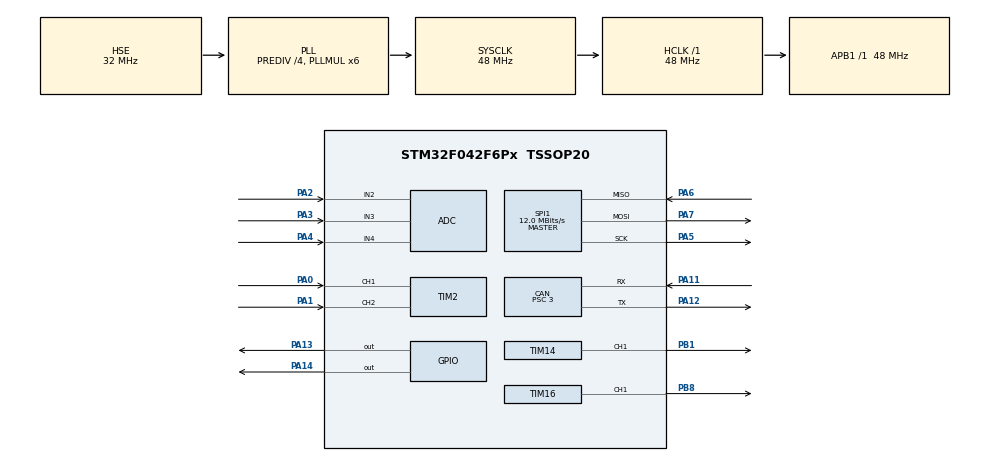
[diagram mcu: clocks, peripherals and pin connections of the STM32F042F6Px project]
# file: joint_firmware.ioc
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ADC.ContinuousConvMode=ENABLE
ADC.DMAContinuousRequests=ENABLE
ADC.Overrun=ADC_OVR_DATA_OVERWRITTEN
CAN.BS1=CAN_BS1_13TQ
CAN.BS2=CAN_BS2_2TQ
CAN.CalculateBaudRate=1000000
CAN.CalculateTimeBit=1000
CAN.CalculateTimeQuantum=62.5
CAN.Mode=CAN_MODE_NORMAL
CAN.Prescaler=3
CAN.RFLM=DISABLE
CAN.SJW=CAN_SJW_1TQ
Dma.ADC.0.Direction=DMA_PERIPH_TO_MEMORY
Dma.ADC.0.Instance=DMA1_Channel1
Dma.ADC.0.MemDataAlignment=DMA_MDATAALIGN_HALFWORD
Dma.ADC.0.MemInc=DMA_MINC_ENABLE
Dma.ADC.0.Mode=DMA_CIRCULAR
Dma.ADC.0.PeriphDataAlignment=DMA_PDATAALIGN_HALFWORD
Dma.ADC.0.PeriphInc=DMA_PINC_DISABLE
Dma.ADC.0.Priority=DMA_PRIORITY_LOW
Dma.Request0=ADC
FREERTOS.Mutexes01=CANTxData,Dynamic,NULL;CANRxData,Dynamic,NULL
FREERTOS.Tasks01=controlSystem,2,64,control_system_task,Default,NULL,Dynamic,NULL,NULL;canTransmit,-2,64,transmit_can_frame_task,Default,NULL,Dynamic,NULL,NULL
FREERTOS.configMINIMAL_STACK_SIZE=64
FREERTOS.configTOTAL_HEAP_SIZE=1500
FREERTOS.configUSE_NEWLIB_REENTRANT=0
Mcu.Family=STM32F0
Mcu.Name=STM32F042F6Px
Mcu.Package=TSSOP20
NVIC.CEC_CAN_IRQn=true\:3\:0\:false\:false\:true\:true\:true\:true\:true
NVIC.DMA1_Channel1_IRQn=true\:3\:0\:false\:false\:true\:true\:false\:true\:true
NVIC.TIM17_IRQn=true\:3\:0\:false\:false\:true\:false\:false\:true\:true
NVIC.TimeBase=TIM17_IRQn
NVIC.TimeBaseIP=TIM17
PA0.Signal=S_TIM2_CH1_ETR
PA1.Signal=S_TIM2_CH2
PA11.Mode=CAN_Activate
PA11.Signal=CAN_RX
PA12.Mode=CAN_Activate
PA12.Signal=CAN_TX
PA13.GPIO_PuPd=GPIO_PULLUP
PA13.PinState=GPIO_PIN_SET
PA13.Signal=GPIO_Output
PA14.GPIO_PuPd=GPIO_PULLUP
PA14.PinState=GPIO_PIN_SET
PA14.Signal=GPIO_Output
PA2.Mode=IN2
PA2.Signal=ADC_IN2
PA3.Mode=IN3
PA3.Signal=ADC_IN3
PA4.Mode=IN4
PA4.Signal=ADC_IN4
PA5.Mode=Full_Duplex_Master
PA5.Signal=SPI1_SCK
PA6.Mode=Full_Duplex_Master
PA6.Signal=SPI1_MISO
PA7.Mode=Full_Duplex_Master
PA7.Signal=SPI1_MOSI
PB1.Signal=S_TIM14_CH1
PB8.Signal=S_TIM16_CH1
PF0-OSC_IN.Mode=HSE-External-Oscillator
PF0-OSC_IN.Signal=RCC_OSC_IN
PF1-OSC_OUT.Mode=HSE-External-Oscillator
PF1-OSC_OUT.Signal=RCC_OSC_OUT
ProjectManager.HeapSize=0x200
ProjectManager.StackSize=0x400
ProjectManager.TargetToolchain=Makefile
RCC.AHBFreq_Value=48000000
RCC.APB1Freq_Value=48000000
RCC.APB1TimFreq_Value=48000000
RCC.HCLKFreq_Value=48000000
RCC.HSE_VALUE=32000000
RCC.PLLDivider=RCC_PREDIV_DIV4
RCC.PLLMUL=RCC_PLL_MUL6
RCC.PLLSourceVirtual=RCC_PLLSOURCE_HSE
RCC.SYSCLKFreq_VALUE=48000000
RCC.SYSCLKSource=RCC_SYSCLKSOURCE_PLLCLK
SH.S_TIM14_CH1.0=TIM14_CH1,PWM Generation1 CH1
SH.S_TIM16_CH1.0=TIM16_CH1,PWM Generation1 CH1
SH.S_TIM2_CH1_ETR.0=TIM2_CH1,Encoder_Interface
SH.S_TIM2_CH2.0=TIM2_CH2,Encoder_Interface
SPI1.BaudRatePrescaler=SPI_BAUDRATEPRESCALER_4
SPI1.CalculateBaudRate=12.0 MBits/s
SPI1.DataSize=SPI_DATASIZE_8BIT
SPI1.Direction=SPI_DIRECTION_2LINES
SPI1.Mode=SPI_MODE_MASTER
SPI1.VirtualType=VM_MASTER
TIM14.Channel=TIM_CHANNEL_1
TIM14.Prescaler=0
TIM14.Pulse=30000
TIM16.Channel=TIM_CHANNEL_1
TIM2.EncoderMode=TIM_ENCODERMODE_TI12
TIM3.Prescaler=48
VP_FREERTOS_VS_CMSIS_V1.Mode=CMSIS_V1
VP_SYS_VS_PINREMAP.Mode=PINREMAP
VP_SYS_VS_tim17.Mode=TIM17
VP_TIM14_VS_ClockSourceINT.Mode=Enable_Timer
VP_TIM16_VS_ClockSourceINT.Mode=Enable_Timer
VP_TIM3_VS_ClockSourceINT.Mode=Internal
board=custom

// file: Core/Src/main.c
/* USER CODE BEGIN Header */
/**
  ******************************************************************************
  * @file           : main.c
  * @brief          : Main program body
  ******************************************************************************
  * @attention
  *
  * Copyright (c) 2024 STMicroelectronics.
  * All rights reserved.
  *
  * This software is licensed under terms that can be found in the LICENSE file
  * in the root directory of this software component.
  * If no LICENSE file comes with this software, it is provided AS-IS.
  *
  ******************************************************************************
  */
/* USER CODE END Header */
#include "main.h"
#include "cmsis_os.h"
#include "adc.h"
#include "can.h"
#include "dma.h"
#include "spi.h"
#include "tim.h"
#include "gpio.h"

void SystemClock_Config(void);
void MX_FREERTOS_Init(void);

/* USER CODE BEGIN 0 */

PID_t positionPID;

/* USER CODE END 0 */

int main(void)
{
  // return;

  /* MCU Configuration--------------------------------------------------------*/

  /* Reset of all peripherals, Initializes the Flash interface and the Systick. */
  HAL_Init();

  /* Configure the system clock */
  SystemClock_Config();

  /* USER CODE BEGIN SysInit */
  MX_GPIO_Init();
  MX_SPI1_Init();
  load_settings();

  // joint.settings.joint.nodeId = 1;
  // joint.settings.joint.nodeId = 2;
  // joint.settings.joint.nodeId = 7;
  // joint.settings.telemetry.transmitPeriod = 3000;
  // joint.settings.joint.nodeId = 4;
  joint_init();

  /* USER CODE END SysInit */

  /* Initialize all configured peripherals */
  // MX_GPIO_Init();
  MX_DMA_Init();
  MX_CAN_Init();
  // MX_SPI1_Init();
  MX_ADC_Init();
  MX_TIM2_Init();
  MX_TIM14_Init();
  MX_TIM16_Init();
  MX_TIM3_Init();
  /* USER CODE BEGIN 2 */

  HAL_TIM_PWM_Start(&htim14, TIM_CHANNEL_1);
  HAL_TIM_PWM_Start(&htim16, TIM_CHANNEL_1);
  HAL_TIM_Encoder_Start(&htim2, TIM_CHANNEL_ALL);
  HAL_TIM_Base_Start(&htim3);
  HAL_CAN_Start(&hcan);

  // PID_init(&positionPID, 650, 500, 120, 0.001, -65535, 65535);
  // joint.settings.control.pGain = 100;
  // joint.settings.control.iGain = 0;
  // joint.settings.control.dGain = 0;
  PID_init(&positionPID, &joint.settings.control.pGain, &joint.settings.control.iGain, &joint.settings.control.dGain, 0.001, -100, 100);

  // send_settings();

  if (HAL_CAN_ActivateNotification(&hcan, CAN_IT_RX_FIFO0_MSG_PENDING |
                                          CAN_IT_ERROR |
                                          CAN_IT_RX_FIFO0_OVERRUN |
                                          CAN_IT_BUSOFF|
                                          CAN_IT_ERROR_PASSIVE) != HAL_OK)
  {
	  Error_Handler();
  }

  /* USER CODE END 2 */

  /* Call init function for freertos objects (in cmsis_os2.c) */
  MX_FREERTOS_Init();

  /* Start scheduler */
  osKernelStart();

  /* We should never get here as control is now taken by the scheduler */

  /* Infinite loop */
  while (1)
  {

  }
}

void SystemClock_Config(void)
{
  RCC_OscInitTypeDef RCC_OscInitStruct = {0};
  RCC_ClkInitTypeDef RCC_ClkInitStruct = {0};

  /** Initializes the RCC Oscillators according to the specified parameters
  * in the RCC_OscInitTypeDef structure.
  */
  RCC_OscInitStruct.OscillatorType = RCC_OSCILLATORTYPE_HSI14|RCC_OSCILLATORTYPE_HSE;
  RCC_OscInitStruct.HSEState = RCC_HSE_ON;
  RCC_OscInitStruct.HSI14State = RCC_HSI14_ON;
  RCC_OscInitStruct.HSI14CalibrationValue = 16;
  RCC_OscInitStruct.PLL.PLLState = RCC_PLL_ON;
  RCC_OscInitStruct.PLL.PLLSource = RCC_PLLSOURCE_HSE;
  RCC_OscInitStruct.PLL.PLLMUL = RCC_PLL_MUL6;
  RCC_OscInitStruct.PLL.PREDIV = RCC_PREDIV_DIV4;
  if (HAL_RCC_OscConfig(&RCC_OscInitStruct) != HAL_OK)
  {
    Error_Handler();
  }

  /** Initializes the CPU, AHB and APB buses clocks
  */
  RCC_ClkInitStruct.ClockType = RCC_CLOCKTYPE_HCLK|RCC_CLOCKTYPE_SYSCLK
                              |RCC_CLOCKTYPE_PCLK1;
  RCC_ClkInitStruct.SYSCLKSource = RCC_SYSCLKSOURCE_PLLCLK;
  RCC_ClkInitStruct.AHBCLKDivider = RCC_SYSCLK_DIV1;
  RCC_ClkInitStruct.APB1CLKDivider = RCC_HCLK_DIV1;

  if (HAL_RCC_ClockConfig(&RCC_ClkInitStruct, FLASH_LATENCY_1) != HAL_OK)
  {
    Error_Handler();
  }
}

void HAL_TIM_PeriodElapsedCallback(TIM_HandleTypeDef *htim)
{
  if (htim->Instance == TIM17) {
    HAL_IncTick();
  }
}

void Error_Handler(void)
{
  __disable_irq();
  while (1)
  {
  }
}

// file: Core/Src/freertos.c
/* USER CODE BEGIN Header */

/**
  ******************************************************************************
  * File Name          : freertos.c
  * Description        : Code for freertos applications
  ******************************************************************************
  * @attention
  *
  * Copyright (c) 2024 STMicroelectronics.
  * All rights reserved.
  *
  * This software is licensed under terms that can be found in the LICENSE file
  * in the root directory of this software component.
  * If no LICENSE file comes with this software, it is provided AS-IS.
  *
  ******************************************************************************
  */
/* USER CODE END Header */

#include "FreeRTOS.h"
#include "task.h"
#include "main.h"
#include "cmsis_os.h"

/* USER CODE BEGIN Includes */
// #include "can_queues.h"
#include "canQueue.h"
#include "can.h"
#include "freckle_protocol.h"
#include "stm32f0xx_hal_tim.h"
#include "tim.h"
#include "adc.h"
#include "joint.h"
#include "pid.h"
/* USER CODE END Includes */

osThreadId controlSystemHandle;
osThreadId canTransmitHandle;
osMutexId CANTxDataHandle;
osMutexId CANRxDataHandle;

void control_system_task(void const * argument);
void transmit_can_frame_task(void const * argument);

void MX_FREERTOS_Init(void); /* (MISRA C 2004 rule 8.1) */

/* GetIdleTaskMemory prototype (linked to static allocation support) */
void vApplicationGetIdleTaskMemory( StaticTask_t **ppxIdleTaskTCBBuffer, StackType_t **ppxIdleTaskStackBuffer, uint32_t *pulIdleTaskStackSize );

/* USER CODE BEGIN GET_IDLE_TASK_MEMORY */
static StaticTask_t xIdleTaskTCBBuffer;
static StackType_t xIdleStack[configMINIMAL_STACK_SIZE];

void vApplicationGetIdleTaskMemory( StaticTask_t **ppxIdleTaskTCBBuffer, StackType_t **ppxIdleTaskStackBuffer, uint32_t *pulIdleTaskStackSize )
{
  *ppxIdleTaskTCBBuffer = &xIdleTaskTCBBuffer;
  *ppxIdleTaskStackBuffer = &xIdleStack[0];
  *pulIdleTaskStackSize = configMINIMAL_STACK_SIZE;
  /* place for user code */
}
/* USER CODE END GET_IDLE_TASK_MEMORY */

void MX_FREERTOS_Init(void) {
  /* USER CODE BEGIN Init */

    osThreadDef(controlSystemHandle, control_system_task, osPriorityNormal, 0, 64);
    controlSystemHandle = osThreadCreate(osThread(controlSystemHandle), NULL);
    osThreadDef(canTransmitHandle, transmit_can_frame_task, osPriorityNormal, 0, 64);
    canTransmitHandle = osThreadCreate(osThread(canTransmitHandle), NULL);

    CANTxDataHandle = xSemaphoreCreateMutex();
    CANRxDataHandle = xSemaphoreCreateMutex(); //

    CAN_InitQueues();
  /* USER CODE END Init */
/* USER CODE BEGIN Header */
/**
  ******************************************************************************
  * File Name          : freertos.c
  * Description        : Code for freertos applications
  ******************************************************************************
  * @attention
  *
  * Copyright (c) 2024 STMicroelectronics.
  * All rights reserved.
  *
  * This software is licensed under terms that can be found in the LICENSE file
  * in the root directory of this software component.
  * If no LICENSE file comes with this software, it is provided AS-IS.
  *
  ******************************************************************************
  */
/* USER CODE END Header */

}

void control_system_task(void const * argument)
{
  /* USER CODE BEGIN control_system_task */
  // __HAL_TIM_SET_COMPARE(&htim14, TIM_CHANNEL_1, 50000);

  int16_t previousPosition = 0;
  int16_t deltaPosition = 0;
  uint32_t currentTimeMs = 0;
  uint32_t previousTimeMs = 0;
  int32_t deltaTimeMs = 0;
  uint8_t updateVelocity = 0;
  int32_t dutyCycle = 0;
  uint8_t offset = 0;

  /* Infinite loop */
  for(;;)
  {
    joint.settings.internal.position =  __HAL_TIM_GET_COUNTER(&htim2);
    convert_countToAngle(&joint.statusA.position, joint.settings.internal.position);

    currentTimeMs = HAL_GetTick();
    deltaTimeMs = currentTimeMs - previousTimeMs;
    updateVelocity = 0;
    if (deltaTimeMs > 100)
    {
      deltaPosition = joint.settings.internal.position - previousPosition;
      convert_countToAngle(&joint.statusA.velocity, (deltaPosition*1000)/deltaTimeMs);
      joint.statusA.moving = deltaPosition != 0;
      joint.statusA.direction = joint.statusA.velocity > 0;

      previousPosition = joint.settings.internal.position;
      previousTimeMs = currentTimeMs;
      updateVelocity = 1;
    }

    // joint.statusC.debugValue = joint.command.value;
    if (joint.statusA.enabled)
    {
      switch (joint.settings.command.mode)
      {
        case CMD_DUTY_CYCLE:
          dutyCycle = joint.command.value;
          offset = 1;
          break;
        case CMD_POSITION:
          dutyCycle = PID_calculate(&positionPID, joint.command.value + joint.settings.calibration.angleOffset, joint.statusA.position);
          offset  = 1;
          break;
        case CMD_CALIBRATE:
          if (updateVelocity)
          {
            joint.statusA.calibrating = 1;
            joint_calibrate(&dutyCycle, joint.settings.internal.position, joint.statusA.velocity);
            // joint.statusC.debugValue = pwm;
            offset = 1;
          }
          break;
        case CMD_VELOCITY:
        case CMD_TORQUE:
        default:
          dutyCycle = 0;
          break;
      }
    }
    else {
      dutyCycle = 0;
      offset = 0;
      joint.command.value = 0;
      joint.statusA.calibrating = 0;
      joint.internalFlags.calibrateStep = CALIBRATE_START;
    }

    // joint.statusC.debugValue = joint_isPastStopPoint(joint.statusA.position);
    // joint.statusC.debugValue = joint.statusA.position;
    // joint.statusC.debugValue1 = joint.settings.calibration.minAngle;

    // Check if the joint is past the stop point, prevent it going further.
    AngleStatus angleStatus = checkAngle(joint.statusA.position);
    if ( !joint.statusA.calibrating &&
         angleStatus != ANGLE_WITHIN_BOUNDS &&
        ((angleStatus == ANGLE_BELOW_MIN && dutyCycle < 0) || (angleStatus == ANGLE_ABOVE_MAX && dutyCycle > 0)))
    {
      dutyCycle = 0;
      offset = 0;
    }

    // joint_setPWMPulseWidth(dutyCycle, offset);
    joint_setDutyCycle(dutyCycle, offset);
    joint.statusB.current = getCurrent();
    joint.statusB.voltage = getVoltage();
    joint.statusB.externalADC = getExternalVoltage();

    osDelay(1);
  }
  /* USER CODE END control_system_task */
}

void transmit_can_frame_task(void const * argument)
{
  /* USER CODE BEGIN transmit_can_frame_task */
  CAN_Message_t canMessage;

  static uint32_t previousTelemetryTime = 0;
  static uint32_t previousSettingsTime = 0;
  uint32_t currentTime;
  uint32_t deltaTime;
  /* Infinite loop */
  for(;;)
  {
    currentTime = HAL_GetTick();
    if (osMutexWait(CANTxDataHandle, osWaitForever) == osOK)
    {

      // Check if we should send some telemetry. This should be another task, but lacking space.
      deltaTime = currentTime - previousTelemetryTime;
      if (deltaTime > joint.settings.telemetry.transmitPeriod)
      {
        encodeStatusAPacketStructure(&canMessage, &joint.statusA);
        finishFrecklePacket(&canMessage, getStatusAMaxDataLength(), getStatusAPacketID());
        CAN_enqueue_message(&canTxQueue, &canMessage);

        encodeStatusBPacketStructure(&canMessage, &joint.statusB);
        finishFrecklePacket(&canMessage, getStatusBMaxDataLength(), getStatusBPacketID());
        CAN_enqueue_message(&canTxQueue, &canMessage);

        if (joint.statusA.debug)
        {
          encodeStatusCPacketStructure(&canMessage, &joint.statusC);
          finishFrecklePacket(&canMessage, getStatusCMaxDataLength(), getStatusCPacketID());
          CAN_enqueue_message(&canTxQueue, &canMessage);
        }
        previousTelemetryTime = currentTime;
      }

      if(CAN_dequeue_message(&canTxQueue, &canMessage) == SUCCESS_L)
      {
        CAN_SendMessage(&canMessage);
      }
    }
    osMutexRelease(CANTxDataHandle); // Give the mutex
    // Every 10 seconds save settings is not enabled and settings changed.
    deltaTime = currentTime - previousSettingsTime;
    if (deltaTime > 1000 && !joint.statusA.enabled && joint.internalFlags.saveSettingsFlag)
    {
      // Disable interrupts
      __disable_irq();
      save_settings();
      __enable_irq();
      previousSettingsTime = currentTime;
      joint.internalFlags.saveSettingsFlag = 0;
    }

    osDelay(3);
  }
  /* USER CODE END transmit_can_frame_task */
}
